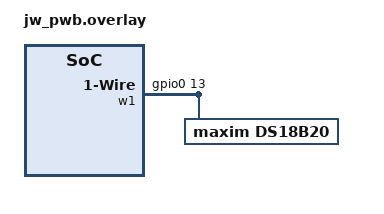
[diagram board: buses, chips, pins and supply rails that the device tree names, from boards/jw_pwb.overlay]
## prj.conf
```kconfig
CONFIG_SENSOR=y
CONFIG_W1=y
```

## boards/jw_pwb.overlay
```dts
/{
    w1: w1 {
        compatible = "zephyr,w1-gpio";
        // [todo] gpio pin
        gpios = <&gpio0 13 (GPIO_ACTIVE_HIGH | GPIO_OPEN_DRAIN | GPIO_PULL_UP)>;
        status = "okay";

		ds18b20 {
			compatible = "maxim,ds18b20";
            // [todo] family-code & resolution
			family-code = <0x28>;
			resolution = <12>;
			status = "okay";
		};
    };
};
```

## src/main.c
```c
/*
 * Copyright (c) 2022 Thomas Stranger
 *
 * SPDX-License-Identifier: Apache-2.0
 */

#include <sys/types.h>
#include <zephyr/device.h>
#include <zephyr/devicetree.h>
#include <zephyr/drivers/sensor.h>
#include <zephyr/drivers/sensor/w1_sensor.h>
#include <zephyr/kernel.h>

/*
 * Get a device structure from a devicetree node with compatible
 * "maxim,ds18s20". (If there are multiple, just pick one.)
 */
static const struct device *get_ds18s20_device(void)
{
	const struct device *const dev = DEVICE_DT_GET_ANY(maxim_ds18s20);

	if (dev == NULL) {
		/* No such node, or the node does not have status "okay". */
		printk("\nError: no device found.\n");
		return NULL;
	}

	if (!device_is_ready(dev)) {
		printk("\nError: Device \"%s\" is not ready; "
		       "check the driver initialization logs for errors.\n",
		       dev->name);
		return NULL;
	}

	printk("Found device \"%s\", getting sensor data\n", dev->name);
	return dev;
}

int main(void)
{
	const struct device *dev = get_ds18s20_device();

	if (dev == NULL) {
		return 0;
	}

  // get uuid
  struct sensor_value rom_id;
  sensor_attr_get(dev, SENSOR_CHAN_MAX, SENSOR_ATTR_W1_ROM, &rom_id);
  printk("UUID (ROM id): %08x %08x\n", rom_id.val2, rom_id.val1);

  // poll temperature
  int32_t couter=0;
	while (1) {
		struct sensor_value temp;

		sensor_sample_fetch(dev);
		sensor_channel_get(dev, SENSOR_CHAN_AMBIENT_TEMP, &temp);

		printk("%d Temp: %d.%06d\n", ++couter, temp.val1, temp.val2);
    k_sleep(K_MSEC(1000));
	}
	return 0;
}
```
